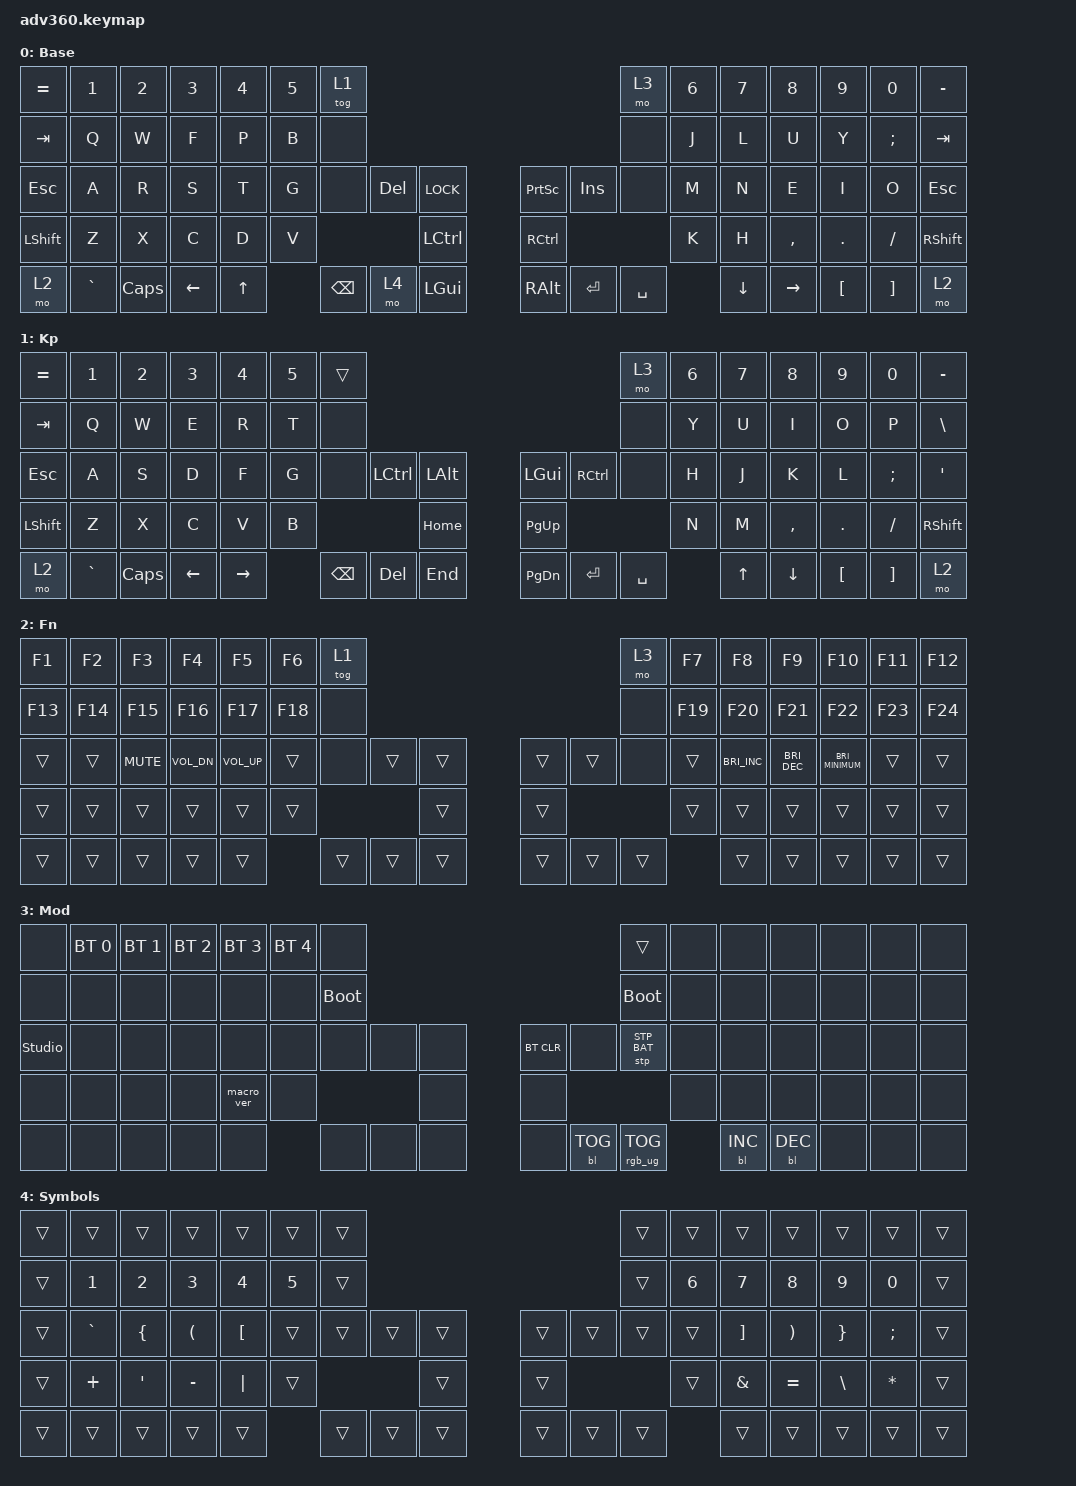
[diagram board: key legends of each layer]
#include <dt-bindings/zmk/stp.h>
#include <behaviors.dtsi>
#include <dt-bindings/zmk/backlight.h>
#include <dt-bindings/zmk/bt.h>
#include <dt-bindings/zmk/keys.h>
#include <dt-bindings/zmk/rgb.h>

/ {
    behaviors {
        #include "macros.dtsi"
      #include "version.dtsi"

        hm: homerow_mods {
            compatible = "zmk,behavior-hold-tap";
            label = "HOMEROW_MODS";
            #binding-cells = <2>;
            tapping-term-ms = <200>;
            quick_tap_ms = <175>;
            flavor = "tap-preferred";
            bindings = <&kp>, <&kp>;
        };
    };

    keymap {
        compatible = "zmk,keymap";

        default_layer {
            display-name = "Base";
            bindings = <
&kp EQUAL  &kp N1     &kp N2    &kp N3    &kp N4        &kp N5  &tog 1                                                                   &mo 3      &kp N6  &kp N7          &kp N8     &kp N9    &kp N0         &kp MINUS
&kp TAB    &kp Q      &kp W     &kp F     &kp P         &kp B   &none                                                                    &none      &kp J   &kp L           &kp U      &kp Y     &kp SEMICOLON  &kp TAB
&kp ESC    &kp A      &kp R     &kp S     &kp T         &kp G   &none     &kp DELETE  &kp K_LOCK            &kp PRINTSCREEN  &kp INSERT  &none      &kp M   &kp N           &kp E      &kp I     &kp O          &kp ESCAPE
&kp LSHFT  &kp Z      &kp X     &kp C     &kp D         &kp V                         &kp LEFT_CONTROL      &kp RCTRL                               &kp K   &kp H           &kp COMMA  &kp DOT   &kp FSLH       &kp RSHFT
&mo 2      &kp GRAVE  &kp CAPS  &kp LEFT  &kp UP_ARROW          &kp BSPC  &mo 4       &kp LGUI              &kp RIGHT_ALT    &kp ENTER   &kp SPACE          &kp DOWN_ARROW  &kp RIGHT  &kp LBKT  &kp RBKT       &mo 2
            >;
        };

        keypad {
            display-name = "Kp";
            bindings = <
&kp EQUAL  &kp N1     &kp N2    &kp N3    &kp N4     &kp N5  &trans                                                   &mo 3      &kp N6  &kp NUMBER_7  &kp N8     &kp N9            &kp NUMBER_0   &kp MINUS
&kp TAB    &kp Q      &kp W     &kp E     &kp R      &kp T   &none                                                    &none      &kp Y   &kp U         &kp I      &kp O             &kp P          &kp BSLH
&kp ESC    &kp A      &kp S     &kp D     &kp F      &kp G   &none     &kp LCTRL  &kp LALT      &kp LGUI   &kp RCTRL  &none      &kp H   &kp J         &kp K      &kp L             &kp SEMICOLON  &kp SQT
&kp LSHFT  &kp Z      &kp X     &kp C     &kp V      &kp B                        &kp HOME      &kp PG_UP                        &kp N   &kp M         &kp COMMA  &kp PERIOD        &kp SLASH      &kp RSHFT
&mo 2      &kp GRAVE  &kp CAPS  &kp LEFT  &kp RIGHT          &kp BSPC  &kp DEL    &kp END       &kp PG_DN  &kp ENTER  &kp SPACE          &kp UP        &kp DOWN   &kp LEFT_BRACKET  &kp RBKT       &mo 2
            >;
        };

        fn {
            display-name = "Fn";
            bindings = <
&kp F1   &kp F2   &kp F3      &kp F4        &kp F5        &kp F6   &tog 1                                      &mo 3   &kp F7   &kp F8         &kp F9         &kp F10                   &kp F11  &kp F12
&kp F13  &kp F14  &kp F15     &kp F16       &kp F17       &kp F18  &none                                       &none   &kp F19  &kp F20        &kp F21        &kp F22                   &kp F23  &kp F24
&trans   &trans   &kp K_MUTE  &kp C_VOL_DN  &kp C_VOL_UP  &trans   &none   &trans  &trans      &trans  &trans  &none   &trans   &kp C_BRI_INC  &kp C_BRI_DEC  &kp C_BRIGHTNESS_MINIMUM  &trans   &trans
&trans   &trans   &trans      &trans        &trans        &trans                   &trans      &trans                  &trans   &trans         &trans         &trans                    &trans   &trans
&trans   &trans   &trans      &trans        &trans                 &trans  &trans  &trans      &trans  &trans  &trans           &trans         &trans         &trans                    &trans   &trans
            >;
        };

        mod {
            display-name = "Mod";
            bindings = <
&none           &bt BT_SEL 0  &bt BT_SEL 1  &bt BT_SEL 2  &bt BT_SEL 3  &bt BT_SEL 4  &none                                                  &trans           &none  &none       &none       &none  &none  &none
&none           &none         &none         &none         &none         &none         &bootloader                                            &bootloader      &none  &none       &none       &none  &none  &none
&studio_unlock  &none         &none         &none         &none         &none         &none        &none  &none      &bt BT_CLR  &none       &stp STP_BAT     &none  &none       &none       &none  &none  &none
&none           &none         &none         &none         &macro_ver    &none                             &none      &none                                    &none  &none       &none       &none  &none  &none
&none           &none         &none         &none         &none                       &none        &none  &none      &none       &bl BL_TOG  &rgb_ug RGB_TOG         &bl BL_INC  &bl BL_DEC  &none  &none  &none
            >;
        };

        extra1 {
            display-name = "Symbols";
            bindings = <
&trans  &trans        &trans            &trans                &trans            &trans  &trans                                      &trans  &trans        &trans             &trans                 &trans           &trans         &trans
&trans  &kp NUMBER_1  &kp NUMBER_2      &kp NUMBER_3          &kp NUMBER_4      &kp N5  &trans                                      &trans  &kp NUMBER_6  &kp N7             &kp N8                 &kp N9           &kp N0         &trans
&trans  &kp GRAVE     &kp LEFT_BRACE    &kp LEFT_PARENTHESIS  &kp LEFT_BRACKET  &trans  &trans  &trans  &trans      &trans  &trans  &trans  &trans        &kp RIGHT_BRACKET  &kp RIGHT_PARENTHESIS  &kp RIGHT_BRACE  &kp SEMICOLON  &trans
&trans  &kp PLUS      &kp SINGLE_QUOTE  &kp MINUS             &kp PIPE          &trans                  &trans      &trans                  &trans        &kp AMPERSAND      &kp EQUAL              &kp BACKSLASH    &kp ASTERISK   &trans
&trans  &trans        &trans            &trans                &trans                    &trans  &trans  &trans      &trans  &trans  &trans                &trans             &trans                 &trans           &trans         &trans
            >;
        };

        extra2 {
            display-name = "Purple";
            status = "reserved";
        };

        extra3 {
            display-name = "Cyan";
            status = "reserved";
        };

        extra4 {
            display-name = "Yellow";
            status = "reserved";
        };
    };
};
